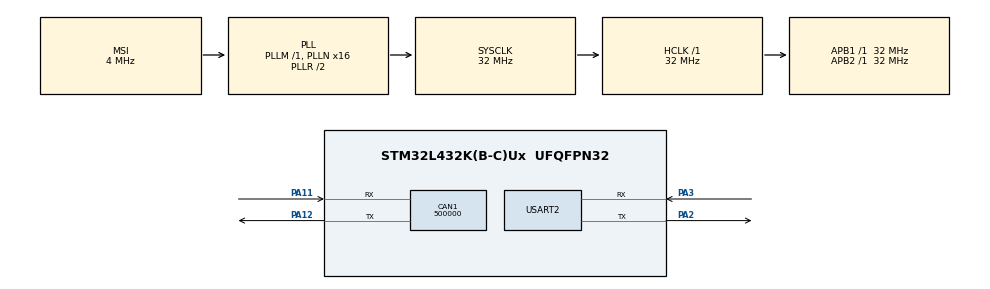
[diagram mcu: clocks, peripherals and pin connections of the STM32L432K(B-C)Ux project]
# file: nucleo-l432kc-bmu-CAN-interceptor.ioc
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CAN1.BS1=CAN_BS1_2TQ
CAN1.CalculateBaudRate=500000
CAN1.CalculateTimeBit=2000
CAN1.CalculateTimeQuantum=500.0
Mcu.Family=STM32L4
Mcu.Name=STM32L432K(B-C)Ux
Mcu.Package=UFQFPN32
NVIC.CAN1_RX1_IRQn=true\:0\:0\:false\:false\:true\:true\:true\:true
NVIC.PriorityGroup=NVIC_PRIORITYGROUP_4
PA11.Mode=CAN_Activate
PA11.Signal=CAN1_RX
PA12.Mode=CAN_Activate
PA12.Signal=CAN1_TX
PA13\ (JTMS-SWDIO).GPIO_Label=SWDIO
PA13\ (JTMS-SWDIO).Mode=Serial_Wire
PA13\ (JTMS-SWDIO).Signal=SYS_JTMS-SWDIO
PA14\ (JTCK-SWCLK).GPIO_Label=SWCLK
PA14\ (JTCK-SWCLK).Mode=Serial_Wire
PA14\ (JTCK-SWCLK).Signal=SYS_JTCK-SWCLK
PA2.Mode=Asynchronous
PA2.Signal=USART2_TX
PA3.Mode=Asynchronous
PA3.Signal=USART2_RX
PC14-OSC32_IN\ (PC14).Mode=LSE-External-Oscillator
PC14-OSC32_IN\ (PC14).Signal=RCC_OSC32_IN
PC15-OSC32_OUT\ (PC15).Mode=LSE-External-Oscillator
PC15-OSC32_OUT\ (PC15).Signal=RCC_OSC32_OUT
ProjectManager.HeapSize=0x200
ProjectManager.StackSize=0x400
ProjectManager.TargetToolchain=Makefile
RCC.AHBFreq_Value=32000000
RCC.APB1Freq_Value=32000000
RCC.APB1TimFreq_Value=32000000
RCC.APB2Freq_Value=32000000
RCC.APB2TimFreq_Value=32000000
RCC.CortexFreq_Value=32000000
RCC.HCLKFreq_Value=32000000
RCC.HSE_VALUE=8000000
RCC.HSI16_VALUE=16000000
RCC.HSI48_VALUE=48000000
RCC.HSI_VALUE=16000000
RCC.MSI_VALUE=4000000
RCC.PLLMUL=RCC_PLLMUL_4
RCC.PLLN=16
RCC.SYSCLKFreq_VALUE=32000000
RCC.SYSCLKSource=RCC_SYSCLKSOURCE_PLLCLK
RCC.VCOOutputFreq_Value=64000000
USART2.VirtualMode-Asynchronous=VM_ASYNC
board=NUCLEO-L432KC

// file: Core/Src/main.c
/* USER CODE BEGIN Header */
/**
  ******************************************************************************
  * @file           : main.c
  * @brief          : Main program body
  ******************************************************************************
  * @attention
  *
  * Copyright (c) 2022 STMicroelectronics.
  * All rights reserved.
  *
  * This software is licensed under terms that can be found in the LICENSE file
  * in the root directory of this software component.
  * If no LICENSE file comes with this software, it is provided AS-IS.
  *
  ******************************************************************************
  */
/* USER CODE END Header */
#include "main.h"

CAN_HandleTypeDef hcan1;

UART_HandleTypeDef huart2;

void SystemClock_Config(void);
static void MX_GPIO_Init(void);
static void MX_CAN1_Init(void);
static void MX_USART2_UART_Init(void);

/* USER CODE BEGIN 0 */
// CAN Transmit header structure
CAN_TxHeaderTypeDef TxHeader;
// CAN Receive header structure
CAN_RxHeaderTypeDef RxHeader;

// Array to store Tx,Rx data
uint8_t TxData[8];
uint8_t RxData[8];

// Variable for TxMailbox
uint32_t TxMailbox;

// Buffer for printing out strings using UART
char uart_buf[50];
int uart_buf_len;

// A flag for whether the correct Rx message has been received
int datacheck = 0;

// Ticker to count elapsed time since program starts
uint32_t ticker = 0;

// Handle received messages on the CAN bus
// When this controller receives message, a message pending callback will be called
void HAL_CAN_RxFifo1MsgPendingCallback(CAN_HandleTypeDef *hcan)
{

	// Get the Rx message in the Rx FIFO
	HAL_CAN_GetRxMessage(hcan, CAN_RX_FIFO1, &RxHeader, RxData);
	// Check the data length of the received message
	// Check if it is from 446
	if (RxHeader.StdId == 0x446)
	{
		// Check the data length of the received message
		if (RxHeader.DLC == 2)
		{
			// Set flag
			datacheck = 1;
		}

	}
	ticker = HAL_GetTick();
	// Print the received message
	uart_buf_len = sprintf(uart_buf,
			"Elapsed Time: %d ms \r\n",(unsigned int)ticker);
	HAL_UART_Transmit(&huart2, (uint8_t *)uart_buf, uart_buf_len, 100);

	uart_buf_len = sprintf(uart_buf,
			"CAN ID: 0x%02x \r\n",(unsigned int)RxHeader.StdId);
	HAL_UART_Transmit(&huart2, (uint8_t *)uart_buf, uart_buf_len, 100);
	uart_buf_len = sprintf(uart_buf,
			"---- \r\n");
	HAL_UART_Transmit(&huart2, (uint8_t *)uart_buf, uart_buf_len, 100);
	for (int i = 0; i < RxHeader.DLC; i++)
	{
		uart_buf_len = sprintf(uart_buf,
				"0x%02x \r\n",(unsigned int)RxData[i]);
		HAL_UART_Transmit(&huart2, (uint8_t *)uart_buf, uart_buf_len, 100);
	}
	uart_buf_len = sprintf(uart_buf,
			" \r\n");
	HAL_UART_Transmit(&huart2, (uint8_t *)uart_buf, uart_buf_len, 100);
}

/* USER CODE END 0 */

int main(void)
{

  /* MCU Configuration--------------------------------------------------------*/

  /* Reset of all peripherals, Initializes the Flash interface and the Systick. */
  HAL_Init();

  /* Configure the system clock */
  SystemClock_Config();

  /* Initialize all configured peripherals */
  MX_GPIO_Init();
  MX_CAN1_Init();
  MX_USART2_UART_Init();
  /* USER CODE BEGIN 2 */

  // Print Start message
  strcpy((char*)uart_buf,"Start of debug session \r\n");
  HAL_UART_Transmit(&huart2, uart_buf, strlen((char*)uart_buf),50);
  strcpy((char*)uart_buf,"=============================== \r\n");
  HAL_UART_Transmit(&huart2, uart_buf, strlen((char*)uart_buf),50);

  // Start CAN
  if (HAL_CAN_Start(&hcan1) != HAL_OK)
  {
	  Error_Handler();
  }

  // Activate the notification for data pending in the Rx FIFO
  if (HAL_CAN_ActivateNotification(&hcan1, CAN_IT_RX_FIFO1_MSG_PENDING) != HAL_OK)
  {
	  Error_Handler();
  }

  // Load data in the TxHeader
  // Sending 2 data bytes
  TxHeader.DLC = 2;	// data length
  TxHeader.IDE = CAN_ID_STD; // Type of identifier for the message that will be transmitted
  TxHeader.RTR = CAN_RTR_DATA; // Type of frame that will be transmitted
  TxHeader.StdId = 0x103; // Standard Identifier, ID of sender

  // The first byte contains the delay for the LED on 2nd board
  // The second byte will act as the number of times the LED will blink
  TxData[0] = 50; //ms delay
  TxData[1] = 20; // loop rep

  /* USER CODE END 2 */

  /* Infinite loop */
  /* USER CODE BEGIN WHILE */
  while (1)
  {
	  // If the data length flag has been set after Rx, blink blue LED at PB7
	  if (datacheck)
	  {
		  for (int i =0;i<RxData[1];i++)
		  {
			  HAL_GPIO_TogglePin(GPIOB, GPIO_PIN_7);
			  HAL_Delay(RxData[0]);
		  }

		  // Reset the flag
		  datacheck = 0;
		  HAL_CAN_AddTxMessage(&hcan1, &TxHeader, TxData, &TxMailbox);
	  }
    /* USER CODE END WHILE */

  }
}

void SystemClock_Config(void)
{
  RCC_OscInitTypeDef RCC_OscInitStruct = {0};
  RCC_ClkInitTypeDef RCC_ClkInitStruct = {0};

  /** Configure the main internal regulator output voltage
  */
  if (HAL_PWREx_ControlVoltageScaling(PWR_REGULATOR_VOLTAGE_SCALE1) != HAL_OK)
  {
    Error_Handler();
  }
  /** Configure LSE Drive Capability
  */
  HAL_PWR_EnableBkUpAccess();
  __HAL_RCC_LSEDRIVE_CONFIG(RCC_LSEDRIVE_LOW);
  /** Initializes the RCC Oscillators according to the specified parameters
  * in the RCC_OscInitTypeDef structure.
  */
  RCC_OscInitStruct.OscillatorType = RCC_OSCILLATORTYPE_LSE|RCC_OSCILLATORTYPE_MSI;
  RCC_OscInitStruct.LSEState = RCC_LSE_ON;
  RCC_OscInitStruct.MSIState = RCC_MSI_ON;
  RCC_OscInitStruct.MSICalibrationValue = 0;
  RCC_OscInitStruct.MSIClockRange = RCC_MSIRANGE_6;
  RCC_OscInitStruct.PLL.PLLState = RCC_PLL_ON;
  RCC_OscInitStruct.PLL.PLLSource = RCC_PLLSOURCE_MSI;
  RCC_OscInitStruct.PLL.PLLM = 1;
  RCC_OscInitStruct.PLL.PLLN = 16;
  RCC_OscInitStruct.PLL.PLLP = RCC_PLLP_DIV7;
  RCC_OscInitStruct.PLL.PLLQ = RCC_PLLQ_DIV2;
  RCC_OscInitStruct.PLL.PLLR = RCC_PLLR_DIV2;
  if (HAL_RCC_OscConfig(&RCC_OscInitStruct) != HAL_OK)
  {
    Error_Handler();
  }
  /** Initializes the CPU, AHB and APB buses clocks
  */
  RCC_ClkInitStruct.ClockType = RCC_CLOCKTYPE_HCLK|RCC_CLOCKTYPE_SYSCLK
                              |RCC_CLOCKTYPE_PCLK1|RCC_CLOCKTYPE_PCLK2;
  RCC_ClkInitStruct.SYSCLKSource = RCC_SYSCLKSOURCE_PLLCLK;
  RCC_ClkInitStruct.AHBCLKDivider = RCC_SYSCLK_DIV1;
  RCC_ClkInitStruct.APB1CLKDivider = RCC_HCLK_DIV1;
  RCC_ClkInitStruct.APB2CLKDivider = RCC_HCLK_DIV1;

  if (HAL_RCC_ClockConfig(&RCC_ClkInitStruct, FLASH_LATENCY_1) != HAL_OK)
  {
    Error_Handler();
  }
  /** Enable MSI Auto calibration
  */
  HAL_RCCEx_EnableMSIPLLMode();
}

static void MX_CAN1_Init(void)
{

  hcan1.Instance = CAN1;
  hcan1.Init.Prescaler = 16;
  hcan1.Init.Mode = CAN_MODE_NORMAL;
  hcan1.Init.SyncJumpWidth = CAN_SJW_1TQ;
  hcan1.Init.TimeSeg1 = CAN_BS1_2TQ;
  hcan1.Init.TimeSeg2 = CAN_BS2_1TQ;
  hcan1.Init.TimeTriggeredMode = DISABLE;
  hcan1.Init.AutoBusOff = DISABLE;
  hcan1.Init.AutoWakeUp = DISABLE;
  hcan1.Init.AutoRetransmission = DISABLE;
  hcan1.Init.ReceiveFifoLocked = DISABLE;
  hcan1.Init.TransmitFifoPriority = DISABLE;
  if (HAL_CAN_Init(&hcan1) != HAL_OK)
  {
    Error_Handler();
  }
  /* USER CODE BEGIN CAN1_Init 2 */
  // Configure the CAN filter on this board
  // Establish filter config object
  CAN_FilterTypeDef canfilterconfig;
  // Enable the CAN filter
  canfilterconfig.FilterActivation = CAN_FILTER_ENABLE;
  // How many filter banks to assign to the CAN1
  canfilterconfig.SlaveStartFilterBank = 14;
  // In case of single instance of CAN peripheral, 14 filter banks are available
  // to filter CAN1 messages. Every filter bank has two 32-bit registers.
  // We can assign any filter 0-13 to any FIF1 for CAN1.
  canfilterconfig.FilterBank = 0;
  // Assign a FIFO0 to the CAN filter
  canfilterconfig.FilterFIFOAssignment = CAN_FILTER_FIFO1;

  // https://www.youtube.com/watch?v=NS3eeZPUDns for a detail explanation
  // In "Mask Mode", the mask register controls which bit of the CAN ID will be checked.
  // A CAN ID is 11 bit long,
  // so if mask register = 111 0000 0000, then only the 3 MSB will be check.
  // If we only want messages with CAN ID = 001 XXXX XXXX to pass through,
  // then set the 3 MSB of id register = 001 0000 0000, using mask mode allows us to
  // let a range of CAN ID pass.

  // "ID Mode" is better if we just want to accept particular CAN ID exclusively.
  // E.g. If we just want to accept CAN ID = 0x65D and 0x651. We set mode to "ID Mode" and
  // both 32-bits register will be used as id register. Now we just store those 2 IDs in the registers.

  // In the STM32F4, each 32-bit id register and mask register is formed by 2 16-bit register.
  // FilterMaskIdHigh sets the 16 MSBs of the mask register while FilterMaskIdLow sets the
  // 16 LSBs of the mask register. The standard ID occupies the 11 MSBs of the message.
  // Same goes with id register.

  // E.g. The sender has CAN ID = 001 0000 0011 = 0x103
  // Using "Mask Mode", the 16 MSBs of the mask register should be 0010 0000 0110 0000 = 0x103<<5
  // to set up the relevant bit to be checked. 16 LSBs of the mask register can be set to all 0s.
  // To allow one ID to pass in "Mask Mode", those bits that are checked has to be the same as the
  // CAN ID, so 16 MSBs of id register = 0x103<<5. 16 LSBs = 0x000.

  // Using "ID Mode", just set 16 MSBs of both register to 0x446 and 16 LSBs to 0x000 to receive from F446.

  // Filter banks can be in either "Mask Mode" or "ID Mode"
  // We use "ID Mode" in this case
  canfilterconfig.FilterMode = CAN_FILTERMODE_IDMASK;
  // FilterScale sets the number of bits for filter registers, we will use 32 bits
  canfilterconfig.FilterScale = CAN_FILTERSCALE_32BIT;
  // Set filter bank so that only a single CAN ID = 0x446 pass through
  canfilterconfig.FilterMaskIdHigh = 0x000<<5;
  canfilterconfig.FilterMaskIdLow = 0x0000;
  canfilterconfig.FilterIdHigh = 0x000<<5;
  canfilterconfig.FilterIdLow = 0x0000;

  // Finally, we initialise the filter object
  if (HAL_CAN_ConfigFilter(&hcan1, &canfilterconfig)!=HAL_OK)
  {
	  Error_Handler();
  }
  /* USER CODE END CAN1_Init 2 */

}

static void MX_USART2_UART_Init(void)
{

  huart2.Instance = USART2;
  huart2.Init.BaudRate = 115200;
  huart2.Init.WordLength = UART_WORDLENGTH_8B;
  huart2.Init.StopBits = UART_STOPBITS_1;
  huart2.Init.Parity = UART_PARITY_NONE;
  huart2.Init.Mode = UART_MODE_TX_RX;
  huart2.Init.HwFlowCtl = UART_HWCONTROL_NONE;
  huart2.Init.OverSampling = UART_OVERSAMPLING_16;
  huart2.Init.OneBitSampling = UART_ONE_BIT_SAMPLE_DISABLE;
  huart2.AdvancedInit.AdvFeatureInit = UART_ADVFEATURE_NO_INIT;
  if (HAL_UART_Init(&huart2) != HAL_OK)
  {
    Error_Handler();
  }

}

static void MX_GPIO_Init(void)
{

  /* GPIO Ports Clock Enable */
  __HAL_RCC_GPIOC_CLK_ENABLE();
  __HAL_RCC_GPIOA_CLK_ENABLE();

}

void Error_Handler(void)
{
  __disable_irq();
  while (1)
  {
  }
}
